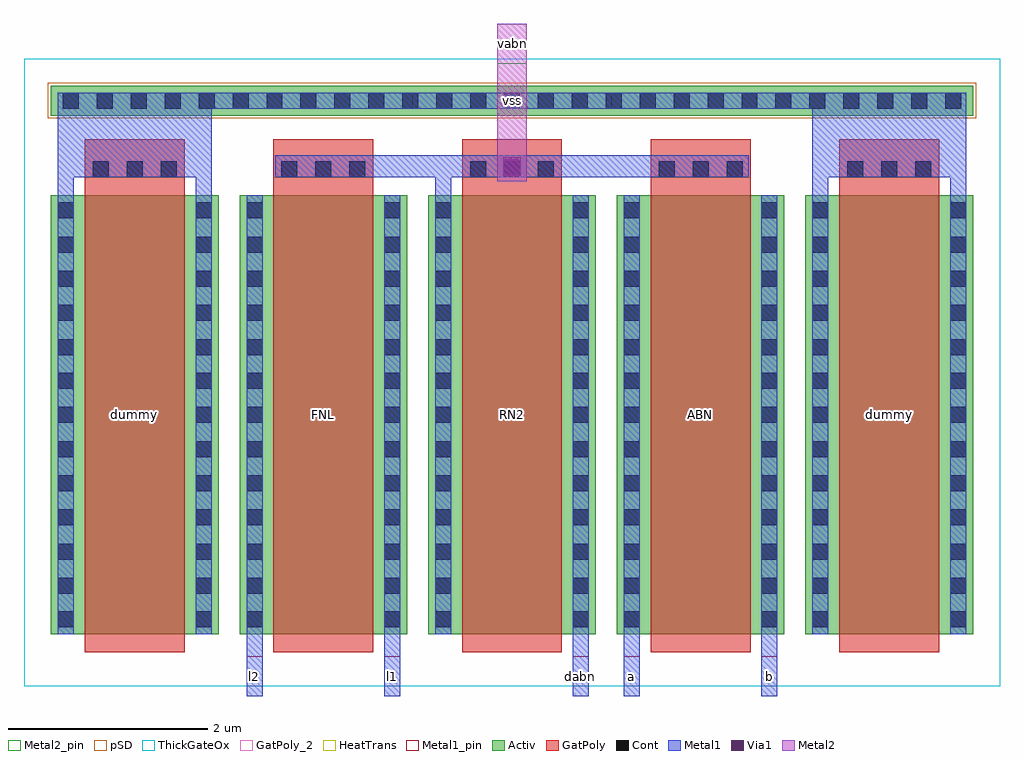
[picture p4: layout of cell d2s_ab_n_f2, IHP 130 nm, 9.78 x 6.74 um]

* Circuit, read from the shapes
.subckt d2s_ab_n_f2 a b dabn l1 l2 vabn vss
XM1 vss vss vss vss sg13_hv_nmos w=4.4u l=1u m=2
XM2 l1 vabn l2 vss sg13_hv_nmos w=4.4u l=1u
XM3 dabn vabn vabn vss sg13_hv_nmos w=4.4u l=1u
XM4 b vabn a vss sg13_hv_nmos w=4.4u l=1u
.ends

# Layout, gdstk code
import gdstk
lib = gdstk.Library(unit=1e-6, precision=1e-09)
def R(c, l, rs):  # rectangles x0, y0, x1, y1
    for r in rs: c.add(gdstk.rectangle(r[:2], r[2:], *l))
def A(c, l, x, y, w, h, nx, ny, dx, dy):  # array of equal rectangles
    R(c, l, [(x+i*dx, y+j*dy, x+i*dx+w, y+j*dy+h) for i in range(nx) for j in range(ny)])
Activ = (1, 0)
GatPoly = (5, 0)
GatPoly_2 = (5, 2)
Cont = (6, 0)
Metal1 = (8, 0)
Metal1_pin = (8, 2)
Metal2 = (10, 0)
Metal2_pin = (10, 2)
pSD = (14, 0)
Via1 = (19, 0)
ThickGateOx = (44, 0)
HeatTrans = (51, 0)

nmoshv_1 = lib.new_cell('nmosHV$1')
R(nmoshv_1, Activ, [(0,0,0.3,0.3), (0,0,1.68,4.4), (1.38,0,1.68,0.3)])
R(nmoshv_1, GatPoly, [(0.34,-0.18,1.34,4.58)])
R(nmoshv_1, GatPoly_2, [(0.34,-0.18,1.34,4.58)])
A(nmoshv_1, Cont, 0.07, 0.07, 0.16, 0.16, 1, 3, 0, 0.34)
A(nmoshv_1, Cont, 1.45, 0.07, 0.16, 0.16, 1, 3, 0, 0.34)
A(nmoshv_1, Cont, 0.07, 1.095, 0.16, 0.16, 1, 3, 0, 0.34)
A(nmoshv_1, Cont, 1.45, 1.095, 0.16, 0.16, 1, 3, 0, 0.34)
A(nmoshv_1, Cont, 0.07, 2.12, 0.16, 0.16, 1, 3, 0, 0.34)
A(nmoshv_1, Cont, 1.45, 2.12, 0.16, 0.16, 1, 3, 0, 0.34)
A(nmoshv_1, Cont, 0.07, 3.145, 0.16, 0.16, 1, 3, 0, 0.34)
A(nmoshv_1, Cont, 1.45, 3.145, 0.16, 0.16, 1, 3, 0, 0.34)
R(nmoshv_1, Cont, [(0.07,4.17,0.23,4.33), (1.45,4.17,1.61,4.33)])
R(nmoshv_1, Metal1, [(0.07,0,0.23,4.4), (1.45,0,1.61,4.4)])
R(nmoshv_1, Metal1_pin, [(0.07,0,0.23,4.4), (1.45,0,1.61,4.4)])
R(nmoshv_1, ThickGateOx, [(-0.27,-0.52,1.95,4.92)])
R(nmoshv_1, HeatTrans, [(0.34,-0.18,1.34,4.58)])
nmoshv_1.add(gdstk.Label('nmosHV', (0.84,2.2), layer=63, texttype=0))
nmoshv_1.add(gdstk.Label('nmosHV', (0.84,2.2), layer=51, texttype=0))

d2s_ab_n_f2 = lib.new_cell('d2s_ab_n_f2')
R(d2s_ab_n_f2, Activ, [(0,5.2,9.24,5.5)])
A(d2s_ab_n_f2, GatPoly, 0.34, 4.4, 1, 0.56, 5, 1, 1.89, 0)
A(d2s_ab_n_f2, Cont, 0.42, 4.58, 0.16, 0.16, 3, 1, 0.34, 0)
A(d2s_ab_n_f2, Cont, 2.31, 4.58, 0.16, 0.16, 3, 1, 0.34, 0)
A(d2s_ab_n_f2, Cont, 4.2, 4.58, 0.16, 0.16, 3, 1, 0.34, 0)
A(d2s_ab_n_f2, Cont, 6.09, 4.58, 0.16, 0.16, 3, 1, 0.34, 0)
A(d2s_ab_n_f2, Cont, 7.98, 4.58, 0.16, 0.16, 3, 1, 0.34, 0)
A(d2s_ab_n_f2, Cont, 0.12, 5.27, 0.16, 0.16, 27, 1, 0.34, 0)
R(d2s_ab_n_f2, Metal1, [(1.96,-0.62,2.12,0), (3.34,-0.62,3.5,0), (5.23,-0.62,5.39,0), (5.74,-0.62,5.9,0), (7.12,-0.62,7.28,0), (0.07,4.4,0.23,5.2), (1.45,4.4,1.61,5.2), (3.85,4.4,4.01,4.58), (7.63,4.4,7.79,5.2), (9.01,4.4,9.17,5.2), (0.07,4.58,1.61,5.43), (2.25,4.58,6.99,4.8), (7.63,4.58,9.17,5.43), (0.07,5.27,9.17,5.43)])
R(d2s_ab_n_f2, Metal1_pin, [(1.96,-0.62,2.12,-0.22), (3.34,-0.62,3.5,-0.22), (5.23,-0.62,5.39,-0.22), (5.74,-0.62,5.9,-0.22), (7.12,-0.62,7.28,-0.22), (3.62,5.27,5.62,5.43)])
R(d2s_ab_n_f2, Metal2, [(4.47,4.54,4.77,6.12)])
R(d2s_ab_n_f2, Metal2_pin, [(4.47,5.72,4.77,6.12)])
R(d2s_ab_n_f2, pSD, [(-0.03,5.17,9.27,5.53)])
R(d2s_ab_n_f2, Via1, [(4.525,4.595,4.715,4.785)])
R(d2s_ab_n_f2, ThickGateOx, [(-0.27,-0.27,9.51,5.77)])
d2s_ab_n_f2.add(gdstk.Reference(nmoshv_1, (0,0)))
d2s_ab_n_f2.add(gdstk.Reference(nmoshv_1, (1.89,0)))
d2s_ab_n_f2.add(gdstk.Reference(nmoshv_1, (3.78,0)))
d2s_ab_n_f2.add(gdstk.Reference(nmoshv_1, (5.67,0)))
d2s_ab_n_f2.add(gdstk.Reference(nmoshv_1, (7.56,0)))
d2s_ab_n_f2.add(gdstk.Label('l2', (2.04,-0.42), layer=8, texttype=25))
d2s_ab_n_f2.add(gdstk.Label('l1', (3.42,-0.42), layer=8, texttype=25))
d2s_ab_n_f2.add(gdstk.Label('dabn', (5.31,-0.42), layer=8, texttype=25))
d2s_ab_n_f2.add(gdstk.Label('a', (5.82,-0.42), layer=8, texttype=25))
d2s_ab_n_f2.add(gdstk.Label('b', (7.2,-0.42), layer=8, texttype=25))
d2s_ab_n_f2.add(gdstk.Label('vss', (4.62,5.35), layer=8, texttype=25))
d2s_ab_n_f2.add(gdstk.Label('vabn', (4.62,5.92), layer=10, texttype=25))
d2s_ab_n_f2.add(gdstk.Label('dummy', (0.84,2.2), layer=63, texttype=0))
d2s_ab_n_f2.add(gdstk.Label('FNL', (2.73,2.2), layer=63, texttype=0))
d2s_ab_n_f2.add(gdstk.Label('RN2', (4.62,2.2), layer=63, texttype=0))
d2s_ab_n_f2.add(gdstk.Label('ABN', (6.51,2.2), layer=63, texttype=0))
d2s_ab_n_f2.add(gdstk.Label('dummy', (8.4,2.2), layer=63, texttype=0))

lib.write_gds('d2s_ab_n_f2.gds')
